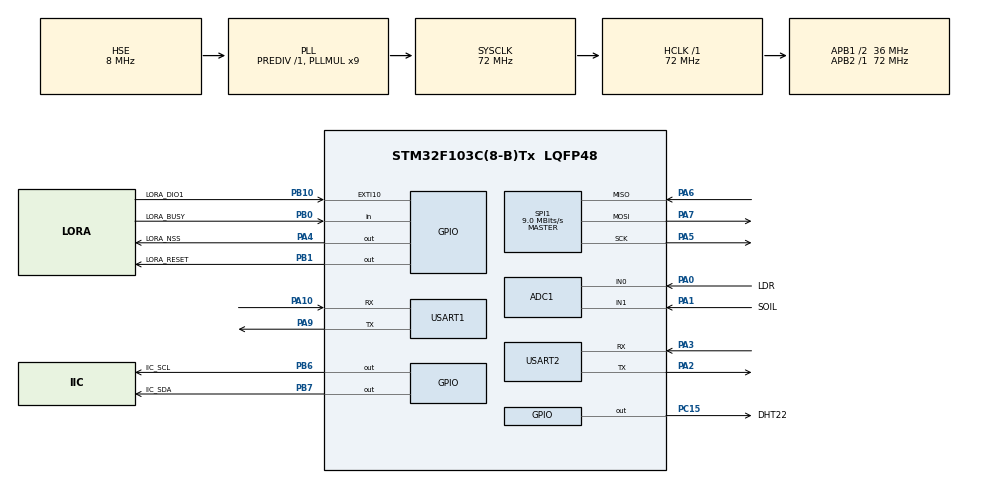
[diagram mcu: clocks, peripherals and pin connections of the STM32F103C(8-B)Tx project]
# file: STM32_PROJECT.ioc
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ADC1.Channel-0\#ChannelRegularConversion=ADC_CHANNEL_0
ADC1.NbrOfConversionFlag=1
ADC1.Rank-0\#ChannelRegularConversion=1
ADC1.SamplingTime-0\#ChannelRegularConversion=ADC_SAMPLETIME_1CYCLE_5
ADC1.master=1
Mcu.Family=STM32F1
Mcu.Name=STM32F103C(8-B)Tx
Mcu.Package=LQFP48
NVIC.EXTI15_10_IRQn=true\:0\:0\:false\:false\:true\:true\:true\:true
NVIC.PriorityGroup=NVIC_PRIORITYGROUP_4
NVIC.TIM3_IRQn=true\:0\:0\:false\:false\:true\:true\:true\:true
NVIC.USART1_IRQn=true\:0\:0\:false\:false\:true\:true\:true\:true
NVIC.USART2_IRQn=true\:0\:0\:false\:false\:true\:true\:true\:true
PA0-WKUP.GPIO_Label=LDR
PA0-WKUP.Signal=ADCx_IN0
PA1.GPIO_Label=SOIL
PA1.Signal=ADCx_IN1
PA10.Mode=Asynchronous
PA10.Signal=USART1_RX
PA13.Mode=Serial_Wire
PA13.Signal=SYS_JTMS-SWDIO
PA14.Mode=Serial_Wire
PA14.Signal=SYS_JTCK-SWCLK
PA2.Mode=Asynchronous
PA2.Signal=USART2_TX
PA3.Mode=Asynchronous
PA3.Signal=USART2_RX
PA4.GPIO_Label=LORA_NSS
PA4.PinState=GPIO_PIN_SET
PA4.Signal=GPIO_Output
PA5.Mode=Full_Duplex_Master
PA5.Signal=SPI1_SCK
PA6.Mode=Full_Duplex_Master
PA6.Signal=SPI1_MISO
PA7.Mode=Full_Duplex_Master
PA7.Signal=SPI1_MOSI
PA9.Mode=Asynchronous
PA9.Signal=USART1_TX
PB0.GPIO_Label=LORA_BUSY
PB0.Signal=GPIO_Input
PB1.GPIO_Label=LORA_RESET
PB1.Signal=GPIO_Output
PB10.GPIO_Label=LORA_DIO1
PB10.Signal=GPXTI10
PB6.GPIO_Label=IIC_SCL
PB6.PinState=GPIO_PIN_SET
PB6.Signal=GPIO_Output
PB7.GPIO_Label=IIC_SDA
PB7.PinState=GPIO_PIN_SET
PB7.Signal=GPIO_Output
PC15-OSC32_OUT.GPIO_Label=DHT22
PC15-OSC32_OUT.PinState=GPIO_PIN_SET
PC15-OSC32_OUT.Signal=GPIO_Output
PD0-OSC_IN.Mode=HSE-External-Oscillator
PD0-OSC_IN.Signal=RCC_OSC_IN
PD1-OSC_OUT.Mode=HSE-External-Oscillator
PD1-OSC_OUT.Signal=RCC_OSC_OUT
ProjectManager.HeapSize=0x2000
ProjectManager.StackSize=0x2000
ProjectManager.TargetToolchain=MDK-ARM V5.32
RCC.ADCPresc=RCC_ADCPCLK2_DIV6
RCC.AHBFreq_Value=72000000
RCC.APB1CLKDivider=RCC_HCLK_DIV2
RCC.APB1Freq_Value=36000000
RCC.APB1TimFreq_Value=72000000
RCC.APB2Freq_Value=72000000
RCC.APB2TimFreq_Value=72000000
RCC.HCLKFreq_Value=72000000
RCC.PLLMUL=RCC_PLL_MUL9
RCC.PLLSourceVirtual=RCC_PLLSOURCE_HSE
RCC.SYSCLKFreq_VALUE=72000000
RCC.SYSCLKSource=RCC_SYSCLKSOURCE_PLLCLK
RCC.USBFreq_Value=72000000
SH.ADCx_IN0.0=ADC1_IN0,IN0
SH.ADCx_IN1.0=ADC1_IN1,IN1
SPI1.BaudRatePrescaler=SPI_BAUDRATEPRESCALER_8
SPI1.CalculateBaudRate=9.0 MBits/s
SPI1.Direction=SPI_DIRECTION_2LINES
SPI1.Mode=SPI_MODE_MASTER
SPI1.VirtualType=VM_MASTER
TIM2.Prescaler=72-1
TIM3.Period=10-1
TIM3.Prescaler=7200-1
USART1.VirtualMode=VM_ASYNC
USART2.VirtualMode=VM_ASYNC
VP_TIM2_VS_ClockSourceINT.Mode=Internal
VP_TIM3_VS_ClockSourceINT.Mode=Internal
board=custom

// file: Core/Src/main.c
/* USER CODE BEGIN Header */
/**
  ******************************************************************************
  * @file           : main.c
  * @brief          : Main program body
  ******************************************************************************
  * @attention
  *
  * Copyright (c) 2026 STMicroelectronics.
  * All rights reserved.
  *
  * This software is licensed under terms that can be found in the LICENSE file
  * in the root directory of this software component.
  * If no LICENSE file comes with this file, it is provided AS-IS.
  *
  ******************************************************************************
  */
/* USER CODE END Header */
#include "main.h"
#include "adc.h"
#include "spi.h"
#include "tim.h"
#include "usart.h"
#include "gpio.h"

/* USER CODE BEGIN Includes */
#include "stdio.h"
#include "stdlib.h"
#include "string.h"
#include "mqtt.h"
#include "oled.h"
#include "LLCC68_example_recive.h"
/* USER CODE END Includes */

/* USER CODE BEGIN PD */
#define RX_LINK_TIMEOUT_MS	15000	//链路超时：超过15s未收到数据判为断链(终端5s一包，留3倍余量)
#define MQTT_RETRY_MS		30000	//MQTT掉线重连的最小间隔(ms)
#define LORA_RX_BUF_LEN		64		//接收帧缓冲(终端帧约35字节)
#define MQTT_BUF_LEN		128		//上报缓冲：原帧 + ",RSSI=-45,SNR=10"，余量充足
/* USER CODE END PD */

/* USER CODE BEGIN PV */
float    gwTemp = 0.0f;			//解析出的空气温度(℃)
float    gwHumi = 0.0f;			//解析出的空气湿度(%RH)
uint16_t gwLdr  = 0;			//解析出的光照
uint16_t gwSoil = 0;			//解析出的土壤湿度
int16_t  gwRssi = 0;			//最近一包的信号强度
int8_t   gwSnr  = 0;			//最近一包的信噪比
uint8_t  dataOk = 0;			//数据解析成功标志
uint8_t  mqttOk = 0;			//已连接巴法云MQTT标志
uint8_t  loraOk = 0;			//LoRa接收就绪标志
uint8_t  linkLost = 0;			//链路超时标志：超过15s没收到任何数据
uint32_t lastRxTick = 0;		//上次收到数据的时刻
uint32_t lastMqttRetryTick = 0;	//上次MQTT重连时刻
uint8_t  lastTotalSta = 0xFF;	//上次总状态，用于仅在状态变化时刷新OLED
char     rxFrame[LORA_RX_BUF_LEN];		//接收到的终端原始帧
char     mqttPayload[MQTT_BUF_LEN];		//MQTT上报内容
/* USER CODE END PV */

void SystemClock_Config(void);

/* USER CODE BEGIN 0 */
void SystemClock_Config(void);

//对fputc进行重定向，用于支持printf

int fputc(int ch, FILE *f)
{
	HAL_UART_Transmit(&huart1,(uint8_t *)&ch,1,1000);
	return ch;
}

/* 解析终端数据帧：T=25.6C,H=60.2%,LDR=1200,SOIL=3400
   逐个字段定位解析，解析成功返回1，字段缺失返回0
   说明：不使用 sscanf 的 %f，避免部分运行库下 scanf 浮点转换不可用 */
static uint8_t GW_ParseFrame(char *frame)
{
	char *p;

	//T=25.6C
	p = strstr(frame,"T=");
	if( p == NULL )	return 0;
	gwTemp = (float)atof(p + 2);

	//H=60.2%
	p = strstr(frame,"H=");
	if( p == NULL )	return 0;
	gwHumi = (float)atof(p + 2);

	//LDR=1200
	p = strstr(frame,"LDR=");
	if( p == NULL )	return 0;
	gwLdr = (uint16_t)atoi(p + 4);

	//SOIL=3400
	p = strstr(frame,"SOIL=");
	if( p == NULL )	return 0;
	gwSoil = (uint16_t)atoi(p + 5);

	return 1;
}

/* 计算总状态：2=全部成功(ALL OK)  1=部分失败(PART FAIL)  0=失败(FAIL) */
static uint8_t GW_CalcStatus(void)
{
	if( linkLost || !dataOk )	return 0;	//链路超时或数据解析失败
	if( mqttOk && loraOk )		return 2;	//数据、MQTT、LoRa 全部正常
	return 1;								//数据正常但 MQTT 未连接
}

/* 刷新OLED：第1行温湿度、第2行光照与土壤、第3行模块状态、第4行总状态
   注意：每行最多容纳16个字符(128px/8px)，链路超时第1行显示 NO DATA */
static void GW_OledRefresh(uint8_t totalSta)
{
	char buf[17];

	OLED_Clear();

	//第1行：空气温湿度
	if( linkLost )
	{
		OLED_ShowString(0,0,(uint8_t *)"NO DATA",16);
	}
	else
	{
		if( dataOk ){ sprintf(buf,"T:%.1fC",gwTemp); }else{ sprintf(buf,"T:--"); }
		OLED_ShowString(0,0,(uint8_t *)buf,16);
		if( dataOk ){ sprintf(buf,"H:%.1f%%",gwHumi); }else{ sprintf(buf,"H:--"); }
		OLED_ShowString(64,0,(uint8_t *)buf,16);
	}

	//第2行：光照强度与土壤湿度
	if( dataOk ){ sprintf(buf,"L:%d",gwLdr); }else{ sprintf(buf,"L:--"); }
	OLED_ShowString(0,2,(uint8_t *)buf,16);
	if( dataOk ){ sprintf(buf,"S:%d",gwSoil); }else{ sprintf(buf,"S:--"); }
	OLED_ShowString(64,2,(uint8_t *)buf,16);

	//第3行：MQTT与LoRa模块状态
	OLED_ShowString(0,4,(uint8_t *)(mqttOk ? "MQ:OK" : "MQ:NG"),16);
	OLED_ShowString(64,4,(uint8_t *)(loraOk ? "LORA:OK" : "LORA:NG"),16);

	//第4行：总状态
	switch(totalSta)
	{
		case 2:  sprintf(buf,"STATUS:ALL OK");	 break;
		case 1:  sprintf(buf,"STATUS:PART FAIL");break;
		default: sprintf(buf,"STATUS:FAIL");	 break;
	}
	OLED_ShowString(0,6,(uint8_t *)buf,16);
}

/* USER CODE END 0 */

int main(void)
{

  /* MCU Configuration--------------------------------------------------------*/

  /* Reset of all peripherals, Initializes the Flash interface and the Systick. */
  HAL_Init();

  /* Configure the system clock */
  SystemClock_Config();

  /* Initialize all configured peripherals */
  MX_GPIO_Init();
  MX_ADC1_Init();
  MX_SPI1_Init();
  MX_TIM2_Init();
  MX_TIM3_Init();
  MX_USART1_UART_Init();
  MX_USART2_UART_Init();
  /* USER CODE BEGIN 2 */
	HAL_TIM_Base_Start(&htim2);  	//启动TIM2，供delay_us/delay_ms使用

	//1.OLED初始化，显示开机画面
	OLED_Init();
	OLED_Clear();
	OLED_ShowString(0,0,(uint8_t *)"LORA GATEWAY",16);
	OLED_ShowString(0,2,(uint8_t *)"BOOTING...",16);
	printf("\r\n====== LORA GATEWAY START ======\r\n");

	//2.启动UART2空闲中断接收，必须在ESP_Init之前，否则收不到ESP8266响应
	HAL_UARTEx_ReceiveToIdle_IT(&huart2,wifi_rxtemp,BUFFERSIZE);

	//3.连接巴法云：ESP8266连热点与服务器 -> MQTT连接(clientid填私钥) -> 订阅主题
	//   注意：ESP_Init/MQTT_Connect内部是阻塞式AT等待，必须放在LoRa接收启动之前，
	//   否则连网期间主循环无法处理LoRa中断，会丢包
	OLED_ShowString(0,4,(uint8_t *)"WIFI CONNECT",16);
	if( ESP_Init() )
	{
		printf("[ESP]init ok\r\n");
		if( MQTT_Connect((char *)USER_KEY) )
		{
			printf("[MQTT]connect ok\r\n");
			if( MQTT_Subscribe((char *)TOPIC,MQTT_QoS0) )
			{
				printf("[MQTT]subscribe ok\r\n");
			}
			mqttOk = 1;
		}
		else
		{
			printf("[MQTT]connect fail\r\n");
		}
	}
	else
	{
		printf("[ESP]init fail\r\n");
	}

	//4.LoRa初始化并进入连续接收（网关只接收，不再调用发送侧的 LLCC68_RadioInit）
	OLED_ShowString(0,6,(uint8_t *)"LORA RX INIT",16);
	LLCC68_RecvInit();
	loraOk = 1;

	lastRxTick        = HAL_GetTick();
	lastMqttRetryTick = HAL_GetTick();
  /* USER CODE END 2 */

  /* Infinite loop */
  while (1)
  {

    /* USER CODE BEGIN 3 */
	uint8_t len;
	uint8_t totalSta;

	//1.高频处理LoRa中断事件，保证DIO1事件及时响应（非阻塞）
	LLCC68_RecvIrqProcess();

	//2.取一包接收到的数据
	len = LLCC68_RecvGetPacket(rxFrame,LORA_RX_BUF_LEN,&gwRssi,&gwSnr);
	if( len > 0 )
	{
		lastRxTick = HAL_GetTick();
		linkLost   = 0;

		printf("[LoRa]RX len=%d rssi=%d snr=%d\r\n",len,gwRssi,gwSnr);

		//2.1 解析温湿度、光照、土壤
		dataOk = GW_ParseFrame(rxFrame) ? 1 : 0;
		printf("[DATA]%s\r\n",rxFrame);

		//2.2 MQTT上报巴法云：终端原帧 + 链路质量 RSSI/SNR
		//    QoS0 不需要等待服务器应答，几乎不阻塞主循环，不会拖慢LoRa接收
		if( mqttOk )
		{
			sprintf(mqttPayload,"%s,RSSI=%d,SNR=%d",rxFrame,gwRssi,gwSnr);
			if( MQTT_Publish(MQTT_QoS0,mqttPayload,(char *)TOPIC) )
			{
				printf("[MQTT]publish ok\r\n");
			}
			else
			{
				printf("[MQTT]publish fail\r\n");
				mqttOk = 0;	//标记掉线，交由重连逻辑处理
			}
		}
	}

	//3.链路超时检测：超过15秒未收到任何数据，OLED显示NO DATA并置总状态为FAIL
	if( !linkLost && (HAL_GetTick() - lastRxTick >= RX_LINK_TIMEOUT_MS) )
	{
		linkLost = 1;
		dataOk   = 0;
		printf("[LoRa]link timeout, no data from terminal\r\n");
	}

	//4.MQTT掉线重连（限制重连频率，避免长时间阻塞主循环）
	if( !mqttOk && (HAL_GetTick() - lastMqttRetryTick >= MQTT_RETRY_MS) )
	{
		lastMqttRetryTick = HAL_GetTick();
		printf("[MQTT]reconnect...\r\n");
		if( ESP_Init() && MQTT_Connect((char *)USER_KEY) )
		{
			MQTT_Subscribe((char *)TOPIC,MQTT_QoS0);
			mqttOk = 1;
			printf("[MQTT]reconnect ok\r\n");
		}
	}

	//5.刷新OLED：收到新包或总状态变化时刷新，避免重复清屏造成闪烁
	totalSta = GW_CalcStatus();
	if( (len > 0) || (totalSta != lastTotalSta) )
	{
		GW_OledRefresh(totalSta);
		lastTotalSta = totalSta;
	}
  }
  /* USER CODE END 3 */
}

void SystemClock_Config(void)
{
  RCC_OscInitTypeDef RCC_OscInitStruct = {0};
  RCC_ClkInitTypeDef RCC_ClkInitStruct = {0};
  RCC_PeriphCLKInitTypeDef PeriphClkInit = {0};

  /** Initializes the RCC Oscillators according to the specified parameters
  * in the RCC_OscInitTypeDef structure.
  */
  RCC_OscInitStruct.OscillatorType = RCC_OSCILLATORTYPE_HSE;
  RCC_OscInitStruct.HSEState = RCC_HSE_ON;
  RCC_OscInitStruct.HSEPredivValue = RCC_HSE_PREDIV_DIV1;
  RCC_OscInitStruct.HSIState = RCC_HSI_ON;
  RCC_OscInitStruct.PLL.PLLState = RCC_PLL_ON;
  RCC_OscInitStruct.PLL.PLLSource = RCC_PLLSOURCE_HSE;
  RCC_OscInitStruct.PLL.PLLMUL = RCC_PLL_MUL9;
  if (HAL_RCC_OscConfig(&RCC_OscInitStruct) != HAL_OK)
  {
    Error_Handler();
  }

  /** Initializes the CPU, AHB and APB buses clocks
  */
  RCC_ClkInitStruct.ClockType = RCC_CLOCKTYPE_HCLK|RCC_CLOCKTYPE_SYSCLK
                              |RCC_CLOCKTYPE_PCLK1|RCC_CLOCKTYPE_PCLK2;
  RCC_ClkInitStruct.SYSCLKSource = RCC_SYSCLKSOURCE_PLLCLK;
  RCC_ClkInitStruct.AHBCLKDivider = RCC_SYSCLK_DIV1;
  RCC_ClkInitStruct.APB1CLKDivider = RCC_HCLK_DIV2;
  RCC_ClkInitStruct.APB2CLKDivider = RCC_HCLK_DIV1;

  if (HAL_RCC_ClockConfig(&RCC_ClkInitStruct, FLASH_LATENCY_2) != HAL_OK)
  {
    Error_Handler();
  }
  PeriphClkInit.PeriphClockSelection = RCC_PERIPHCLK_ADC;
  PeriphClkInit.AdcClockSelection = RCC_ADCPCLK2_DIV6;
  if (HAL_RCCEx_PeriphCLKConfig(&PeriphClkInit) != HAL_OK)
  {
    Error_Handler();
  }
}

void Error_Handler(void)
{
  __disable_irq();
  while (1)
  {
  }
}
